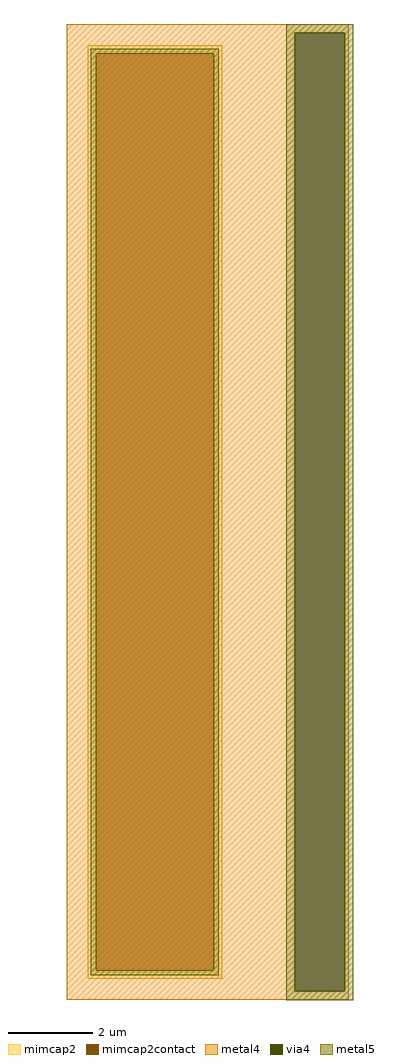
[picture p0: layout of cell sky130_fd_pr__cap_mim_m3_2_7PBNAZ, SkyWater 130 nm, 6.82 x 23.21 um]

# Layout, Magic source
magic
tech sky130A
magscale 1 2
<< metal4 >>
rect -671 2279 671 2320
rect -671 -2279 415 2279
rect 651 -2279 671 2279
rect -671 -2320 671 -2279
<< via4 >>
rect 415 -2279 651 2279
<< mimcap2 >>
rect -571 2180 69 2220
rect -571 -2180 -531 2180
rect 29 -2180 69 2180
rect -571 -2220 69 -2180
<< mimcap2contact >>
rect -531 -2180 29 2180
<< metal5 >>
rect 373 2279 693 2321
rect -555 2180 53 2204
rect -555 -2180 -531 2180
rect 29 -2180 53 2180
rect -555 -2204 53 -2180
rect 373 -2279 415 2279
rect 651 -2279 693 2279
rect 373 -2321 693 -2279
<< properties >>
string gencell sky130_fd_pr__cap_mim_m3_2
string FIXED_BBOX -671 -2320 169 2320
string parameters w 3.2 l 22.2 val 151.732 carea 2.00 cperi 0.19 nx 1 ny 1 dummy 0 square 0 lmin 2.00 wmin 2.00 lmax 30.0 wmax 30.0 dc 0 bconnect 1 tconnect 1 ccov 100
string library sky130
<< end >>
